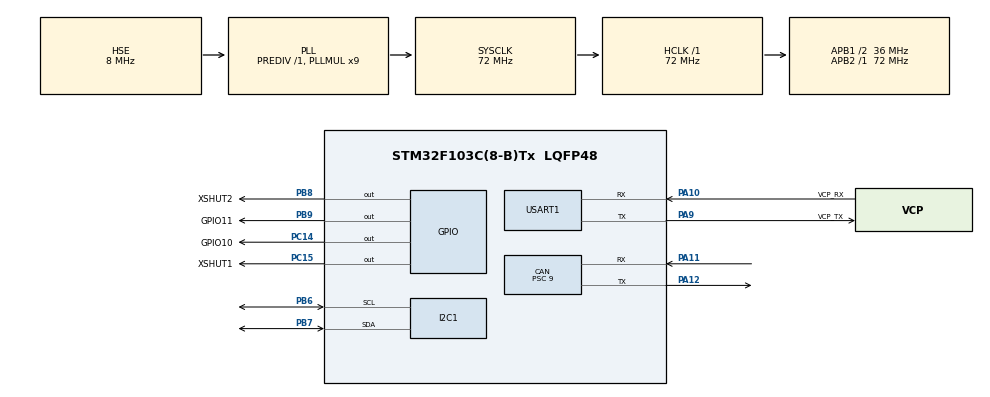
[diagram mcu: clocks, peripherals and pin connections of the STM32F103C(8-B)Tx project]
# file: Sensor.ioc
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CAN.BS1=CAN_BS1_3TQ
CAN.BS2=CAN_BS2_4TQ
CAN.CalculateBaudRate=500000
CAN.CalculateTimeBit=2000
CAN.CalculateTimeQuantum=250.0
CAN.Prescaler=9
Mcu.Family=STM32F1
Mcu.Name=STM32F103C(8-B)Tx
Mcu.Package=LQFP48
NVIC.PriorityGroup=NVIC_PRIORITYGROUP_4
PA10.GPIO_Label=VCP_RX
PA10.Mode=Asynchronous
PA10.Signal=USART1_RX
PA11.Mode=CAN_Activate
PA11.Signal=CAN_RX
PA12.Mode=CAN_Activate
PA12.Signal=CAN_TX
PA13.Mode=Serial_Wire
PA13.Signal=SYS_JTMS-SWDIO
PA14.Mode=Serial_Wire
PA14.Signal=SYS_JTCK-SWCLK
PA9.GPIO_Label=VCP_TX
PA9.Mode=Asynchronous
PA9.Signal=USART1_TX
PB6.Mode=I2C
PB6.Signal=I2C1_SCL
PB7.Mode=I2C
PB7.Signal=I2C1_SDA
PB8.GPIO_Label=XSHUT2
PB8.Signal=GPIO_Output
PB9.GPIO_Label=GPIO11
PB9.Signal=GPIO_Output
PC14-OSC32_IN.GPIO_Label=GPIO10
PC14-OSC32_IN.Signal=GPIO_Output
PC15-OSC32_OUT.GPIO_Label=XSHUT1
PC15-OSC32_OUT.Signal=GPIO_Output
PD0-OSC_IN.Mode=HSE-External-Oscillator
PD0-OSC_IN.Signal=RCC_OSC_IN
PD1-OSC_OUT.Mode=HSE-External-Oscillator
PD1-OSC_OUT.Signal=RCC_OSC_OUT
ProjectManager.HeapSize=0x200
ProjectManager.StackSize=0x400
ProjectManager.TargetToolchain=STM32CubeIDE
RCC.AHBFreq_Value=72000000
RCC.APB1CLKDivider=RCC_HCLK_DIV2
RCC.APB1Freq_Value=36000000
RCC.APB1TimFreq_Value=72000000
RCC.APB2Freq_Value=72000000
RCC.APB2TimFreq_Value=72000000
RCC.HCLKFreq_Value=72000000
RCC.PLLMUL=RCC_PLL_MUL9
RCC.PLLSourceVirtual=RCC_PLLSOURCE_HSE
RCC.SYSCLKFreq_VALUE=72000000
RCC.SYSCLKSource=RCC_SYSCLKSOURCE_PLLCLK
RCC.USBFreq_Value=72000000
USART1.VirtualMode=VM_ASYNC
board=custom

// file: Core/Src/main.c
/* USER CODE BEGIN Header */
/**
 ******************************************************************************
 * @file           : main.c
 * @brief          : Main program body
 ******************************************************************************
 * @attention
 *
 * Copyright (c) 2024 STMicroelectronics.
 * All rights reserved.
 *
 * This software is licensed under terms that can be found in the LICENSE file
 * in the root directory of this software component.
 * If no LICENSE file comes with this software, it is provided AS-IS.
 *
 ******************************************************************************
 */
/* USER CODE END Header */
#include "main.h"

/* USER CODE BEGIN Includes */
#include "i2c.h"
#include "usart.h"
#include "gpio.h"
#include "stdio.h"
#include "VL53L1X.h"
#include "VL53L1X_api.h"
/* USER CODE END Includes */

CAN_HandleTypeDef hcan;

/* USER CODE BEGIN PV */
uint8_t TxData[8];

CAN_TxHeaderTypeDef TxHeader;
uint32_t TxMailbox;
/* USER CODE END PV */

void SystemClock_Config(void);
static void MX_CAN_Init(void);

/* USER CODE BEGIN 0 */
static void encodeNumber(uint16_t number, uint8_t index);
static uint8_t crc8(uint8_t *data, uint8_t length);
static uint16_t getDistance(VL53L1X *sensor);
/* USER CODE END 0 */

int main(void)
{

  /* MCU Configuration--------------------------------------------------------*/

  /* Reset of all peripherals, Initializes the Flash interface and the Systick. */
  HAL_Init();

  /* Configure the system clock */
  SystemClock_Config();

  /* Initialize all configured peripherals */
  MX_GPIO_Init();
  MX_CAN_Init();
  MX_USART1_UART_Init();
  MX_I2C1_Init();
  /* USER CODE BEGIN 2 */
	HAL_CAN_Start(&hcan); 	//Bat dau CAN
	//Cau hinh Goi tin
	TxHeader.StdId = 0x012; // ID của thông điệp Node 1 sẽ gửi
	TxHeader.DLC = 5;  			// Số byte dữ liệu
	TxHeader.IDE = CAN_ID_STD;
	TxHeader.RTR = CAN_RTR_DATA;

	VL53L1X sensor1, sensor2;
	TOF_InitStruct(&sensor1, &hi2c1, 0x20, XSHUT1_GPIO_Port,
	XSHUT1_Pin);
	TOF_InitStruct(&sensor2, &hi2c1, 0x26, XSHUT2_GPIO_Port,
	XSHUT2_Pin);

	char msg[100];
	VL53L1X *sensors[] = {&sensor1, &sensor2};
	int status = TOF_BootMultipleSensors(sensors, 2);
	if (status != 0) {
		sprintf(msg, "%d", (int) status);
		HAL_UART_Transmit(&huart1, (uint8_t*) msg, 1, 100);
		while (1) { HAL_UART_Transmit(&huart1, (uint8_t*) "ERROR!!", 8, 100);
		}
	}
  /* USER CODE END 2 */

  /* Infinite loop */
  /* USER CODE BEGIN WHILE */
	uint16_t Distance_Left = 0, Distance_Right = 0;
	while (1) {
		/* USER CODE END WHILE */

		/* USER CODE BEGIN 3 */
		//	Sending message
		Distance_Left = getDistance(&sensor1);
		Distance_Right = getDistance(&sensor2);

		encodeNumber(Distance_Left, 0);
		encodeNumber(Distance_Right, 2);
		//	store checksum
		TxData[4] = crc8(TxData, 4);
		sprintf(msg, "\n\rLeft: %x%x mm\n\rRight: %x%x mm",
				TxData[1], TxData[0], TxData[3], TxData[2]);
		if (HAL_CAN_AddTxMessage(&hcan, &TxHeader, TxData,
				&TxMailbox) == HAL_OK) {
			HAL_UART_Transmit(&huart1, (uint8_t*) msg,
					strlen(msg), 100);
		}
//		HAL_Delay(20);
	}
  /* USER CODE END 3 */
}

void SystemClock_Config(void)
{
  RCC_OscInitTypeDef RCC_OscInitStruct = {0};
  RCC_ClkInitTypeDef RCC_ClkInitStruct = {0};

  /** Initializes the RCC Oscillators according to the specified parameters
  * in the RCC_OscInitTypeDef structure.
  */
  RCC_OscInitStruct.OscillatorType = RCC_OSCILLATORTYPE_HSE;
  RCC_OscInitStruct.HSEState = RCC_HSE_ON;
  RCC_OscInitStruct.HSEPredivValue = RCC_HSE_PREDIV_DIV1;
  RCC_OscInitStruct.HSIState = RCC_HSI_ON;
  RCC_OscInitStruct.PLL.PLLState = RCC_PLL_ON;
  RCC_OscInitStruct.PLL.PLLSource = RCC_PLLSOURCE_HSE;
  RCC_OscInitStruct.PLL.PLLMUL = RCC_PLL_MUL9;
  if (HAL_RCC_OscConfig(&RCC_OscInitStruct) != HAL_OK)
  {
    Error_Handler();
  }

  /** Initializes the CPU, AHB and APB buses clocks
  */
  RCC_ClkInitStruct.ClockType = RCC_CLOCKTYPE_HCLK|RCC_CLOCKTYPE_SYSCLK
                              |RCC_CLOCKTYPE_PCLK1|RCC_CLOCKTYPE_PCLK2;
  RCC_ClkInitStruct.SYSCLKSource = RCC_SYSCLKSOURCE_PLLCLK;
  RCC_ClkInitStruct.AHBCLKDivider = RCC_SYSCLK_DIV1;
  RCC_ClkInitStruct.APB1CLKDivider = RCC_HCLK_DIV2;
  RCC_ClkInitStruct.APB2CLKDivider = RCC_HCLK_DIV1;

  if (HAL_RCC_ClockConfig(&RCC_ClkInitStruct, FLASH_LATENCY_2) != HAL_OK)
  {
    Error_Handler();
  }
}

static void MX_CAN_Init(void)
{

  hcan.Instance = CAN1;
  hcan.Init.Prescaler = 9;
  hcan.Init.Mode = CAN_MODE_NORMAL;
  hcan.Init.SyncJumpWidth = CAN_SJW_1TQ;
  hcan.Init.TimeSeg1 = CAN_BS1_3TQ;
  hcan.Init.TimeSeg2 = CAN_BS2_4TQ;
  hcan.Init.TimeTriggeredMode = DISABLE;
  hcan.Init.AutoBusOff = DISABLE;
  hcan.Init.AutoWakeUp = DISABLE;
  hcan.Init.AutoRetransmission = DISABLE;
  hcan.Init.ReceiveFifoLocked = DISABLE;
  hcan.Init.TransmitFifoPriority = DISABLE;
  if (HAL_CAN_Init(&hcan) != HAL_OK)
  {
    Error_Handler();
  }

}

/* USER CODE BEGIN 4 */
static uint8_t crc8(uint8_t *data, uint8_t length) {
	uint8_t crc = 0;
	uint8_t polynomial = 0x8C;  // CRC-8 SAE J1850 polynomial

	for (uint8_t i = 0; i < length; i++) {
		crc ^= data[i];
		for (uint8_t j = 8; j; j--) {
			if (crc & 0x80) crc = (crc << 1) ^ polynomial;
			else crc <<= 1;
		}
	}
	return crc;
}

static void encodeNumber(uint16_t number, uint8_t index) {
	TxData[index] = number & 0xFF;
	TxData[index+1] = (number >> 8) & 0xFF;
}

static uint16_t getDistance(VL53L1X *sensor){
	uint16_t distance = TOF_GetDistance(sensor);
	if (distance == 0xFFFF) {
		HAL_Init();
		SystemClock_Config();
		MX_GPIO_Init();
		MX_I2C1_Init();
		MX_USART1_UART_Init();
	}
	distance = TOF_GetDistance(sensor);
	return distance;
}
/* USER CODE END 4 */

void Error_Handler(void)
{
	__disable_irq();
	while (1) {
	}
}
